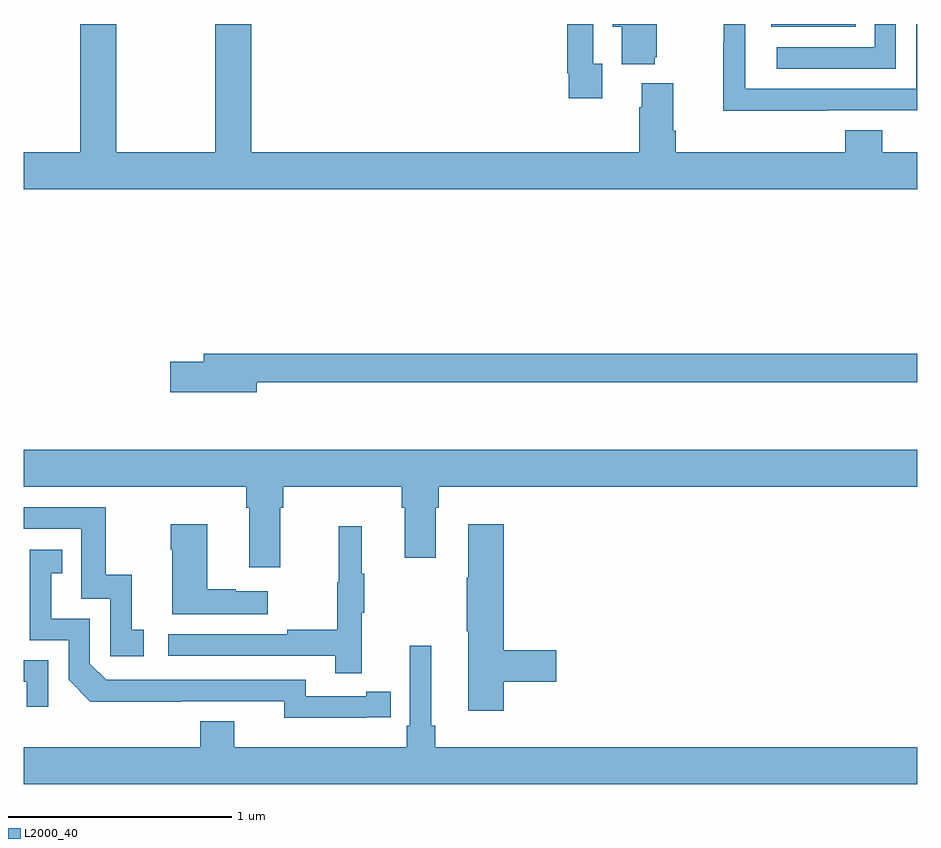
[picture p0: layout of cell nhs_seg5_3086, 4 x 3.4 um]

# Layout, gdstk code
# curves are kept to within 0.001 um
import gdstk
lib = gdstk.Library(unit=1e-6, precision=1e-09)
def R(c, l, rs):  # rectangles x0, y0, x1, y1
    for r in rs: c.add(gdstk.rectangle(r[:2], r[2:], *l))
def P(c, l, *ps):  # polygons
    for p in ps: c.add(gdstk.Polygon(p, *l))
L2000_40 = (2000, 40)

nhs_seg5_3086 = lib.new_cell('nhs_seg5_3086')
R(nhs_seg5_3086, L2000_40, [(292.346,890.786,292.724,890.799)])
P(nhs_seg5_3086, L2000_40, [(292.595,890.412),(293,890.412),(293,890.799),(292.995,890.799),(292.995,890.508),(292.23,890.508),(292.23,890.799),(292.134,890.799),(292.134,890.717),(292.132,890.717),(292.132,890.411),(292.595,890.411)],
  [(293,890.224),(292.844,890.224),(292.844,890.323),(292.679,890.323),(292.679,890.224),(291.92,890.224),(291.92,890.32),(291.907,890.32),(291.907,890.533),(291.767,890.533),(291.767,890.426),(291.755,890.426),(291.755,890.224),(290.018,890.224),(290.018,890.799),(289.858,890.799),(289.858,890.224),(289.413,890.224),(289.413,890.799),(289.253,890.799),(289.253,890.224),(289,890.224),(289,890.06),(293,890.06)],
  [(292.905,890.799),(292.809,890.799),(292.809,890.694),(292.371,890.694),(292.371,890.598),(292.905,890.598)],
  [(291.589,890.622),(291.549,890.622),(291.549,890.799),(291.433,890.799),(291.433,890.578),(291.441,890.578),(291.441,890.466),(291.589,890.466)],
  [(291.824,890.649),(291.835,890.649),(291.835,890.799),(291.638,890.799),(291.638,890.786),(291.677,890.786),(291.677,890.618),(291.824,890.618)],
  [(290.044,889.194),(293,889.194),(293,889.322),(289.805,889.322),(289.805,889.286),(289.656,889.286),(289.656,889.151),(290.044,889.151)],
  [(290.149,888.632),(290.162,888.632),(290.162,888.728),(290.693,888.728),(290.693,888.632),(290.705,888.632),(290.705,888.408),(290.845,888.408),(290.845,888.632),(290.858,888.632),(290.858,888.728),(293,888.728),(293,888.892),(289,888.892),(289,888.728),(289.997,888.728),(289.997,888.632),(290.009,888.632),(290.009,888.366),(290.149,888.366)],
  [(289.537,888.087),(289.484,888.087),(289.484,888.334),(289.366,888.334),(289.366,888.636),(289,888.636),(289,888.54),(289.257,888.54),(289.257,888.225),(289.386,888.225),(289.386,887.967),(289.537,887.967)],
  [(291.149,887.854),(291.385,887.854),(291.385,887.996),(291.149,887.996),(291.149,888.559),(290.99,888.559),(290.99,888.32),(290.983,888.32),(290.983,888.079),(290.99,888.079),(290.99,887.724),(291.149,887.724)],
  [(290.092,888.259),(289.949,888.259),(289.949,888.269),(289.822,888.269),(289.822,888.559),(289.657,888.559),(289.657,888.446),(289.664,888.446),(289.664,888.155),(290.092,888.155)],
  [(290.513,888.163),(290.524,888.163),(290.524,888.337),(290.513,888.337),(290.513,888.55),(290.41,888.55),(290.41,888.3),(290.403,888.3),(290.403,888.086),(290.179,888.086),(290.179,888.066),(289.647,888.066),(289.647,887.97),(290.395,887.97),(290.395,887.892),(290.513,887.892)],
  [(290.534,887.694),(290.642,887.694),(290.642,887.81),(290.534,887.81),(290.534,887.79),(290.262,887.79),(290.262,887.862),(289.368,887.862),(289.296,887.934),(289.296,888.135),(289.123,888.135),(289.123,888.339),(289.172,888.339),(289.172,888.445),(289.026,888.445),(289.026,888.039),(289.2,888.039),(289.2,887.862),(289.298,887.765),(290.166,887.766),(290.166,887.693)],
  [(293,887.56),(290.843,887.56),(290.843,887.656),(290.824,887.656),(290.824,888.016),(290.727,888.016),(290.727,887.656),(290.714,887.656),(290.714,887.56),(289.942,887.56),(289.942,887.677),(289.79,887.677),(289.79,887.56),(289,887.56),(289,887.396),(293,887.396)],
  [(289.11,887.949),(289,887.949),(289,887.853),(289.013,887.853),(289.013,887.742),(289.11,887.742)])

lib.write_gds('nhs_seg5_3086.gds')
